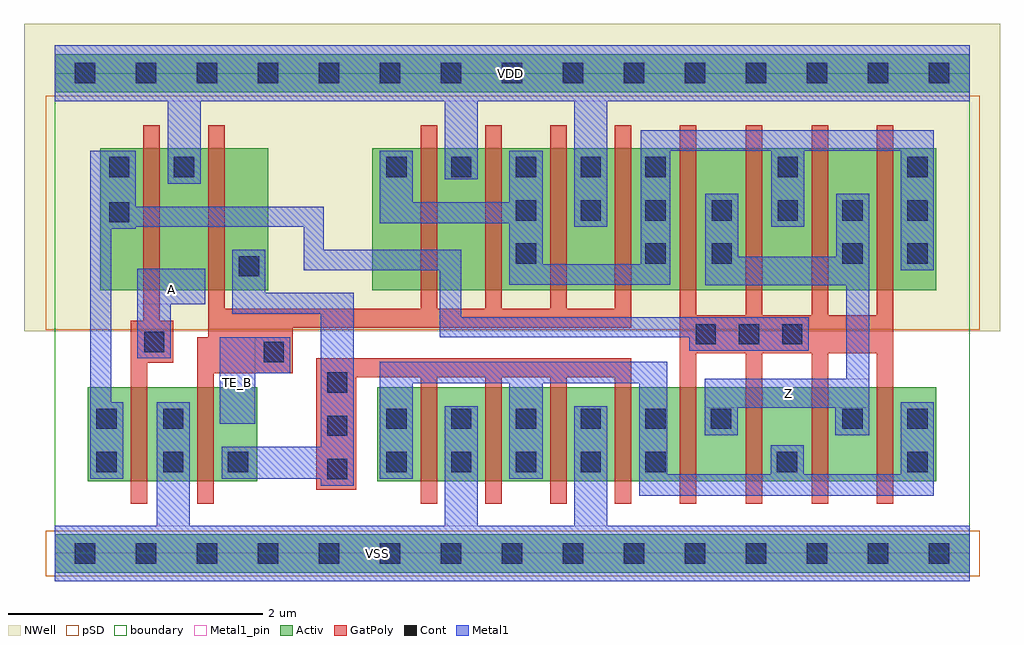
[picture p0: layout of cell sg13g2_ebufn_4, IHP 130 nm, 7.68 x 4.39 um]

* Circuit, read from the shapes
.subckt sg13g2_ebufn_4 A TE_B VDD VSS Z
XM1 VSS A n1 VSS sg13_lv_nmos w=0.74u l=0.13u
XM2 n2 TE_B VSS VSS sg13_lv_nmos w=0.74u l=0.13u
XM3 VSS n2 n3 VSS sg13_lv_nmos w=0.74u l=0.13u m=4
XM4 Z n1 n3 VSS sg13_lv_nmos w=0.74u l=0.13u m=4
XM5 VDD A n1 VDD sg13_lv_pmos w=1.12u l=0.13u
XM6 n2 TE_B VDD VDD sg13_lv_pmos w=1.12u l=0.13u
XM7 VDD TE_B n4 VDD sg13_lv_pmos w=1.12u l=0.13u m=4
XM8 Z n1 n4 VDD sg13_lv_pmos w=1.12u l=0.13u m=4
.ends

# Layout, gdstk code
import gdstk
lib = gdstk.Library(unit=1e-6, precision=1e-09)
def R(c, l, rs):  # rectangles x0, y0, x1, y1
    for r in rs: c.add(gdstk.rectangle(r[:2], r[2:], *l))
def A(c, l, x, y, w, h, nx, ny, dx, dy):  # array of equal rectangles
    R(c, l, [(x+i*dx, y+j*dy, x+i*dx+w, y+j*dy+h) for i in range(nx) for j in range(ny)])
def P(c, l, *ps):  # polygons
    for p in ps: c.add(gdstk.Polygon(p, *l))
Activ = (1, 0)
GatPoly = (5, 0)
Cont = (6, 0)
Metal1 = (8, 0)
Metal1_pin = (8, 2)
pSD = (14, 0)
NWell = (31, 0)
boundary = (189, 4)

sg13g2_ebufn_4 = lib.new_cell('sg13g2_ebufn_4')
R(sg13g2_ebufn_4, Activ, [(0,-0.15,7.2,0.15), (0.26,0.57,1.595,1.31), (2.54,0.57,6.94,1.31), (0.36,2.07,1.68,3.19), (2.5,2.07,6.94,3.19), (0,3.63,7.2,3.93)])
P(sg13g2_ebufn_4, GatPoly, [(2.88,0.39),(2.88,1.385),(2.375,1.385),(2.375,0.5),(2.06,0.5),(2.06,1.535),(4.54,1.535),(4.54,0.39),(4.41,0.39),(4.41,1.385),(4.03,1.385),(4.03,0.39),(3.9,0.39),(3.9,1.385),(3.52,1.385),(3.52,0.39),(3.39,0.39),(3.39,1.385),(3.01,1.385),(3.01,0.39)],
  [(1.125,0.39),(1.125,1.7),(1.21,1.7),(1.21,3.37),(1.34,3.37),(1.34,1.925),(2.88,1.925),(2.88,3.37),(3.01,3.37),(3.01,1.925),(3.39,1.925),(3.39,3.37),(3.52,3.37),(3.52,1.925),(3.9,1.925),(3.9,3.37),(4.03,3.37),(4.03,1.925),(4.41,1.925),(4.41,3.37),(4.54,3.37),(4.54,1.775),(1.875,1.775),(1.875,1.42),(1.255,1.42),(1.255,0.39)],
  [(4.92,0.39),(4.92,3.37),(5.05,3.37),(5.05,1.875),(5.44,1.875),(5.44,3.37),(5.57,3.37),(5.57,1.875),(5.96,1.875),(5.96,3.37),(6.09,3.37),(6.09,1.875),(6.47,1.875),(6.47,3.37),(6.6,3.37),(6.6,0.39),(6.47,0.39),(6.47,1.575),(6.09,1.575),(6.09,0.39),(5.96,0.39),(5.96,1.575),(5.57,1.575),(5.57,0.39),(5.44,0.39),(5.44,1.575),(5.05,1.575),(5.05,0.39)],
  [(0.6,0.39),(0.6,1.83),(0.7,1.83),(0.7,3.37),(0.83,3.37),(0.83,1.83),(0.935,1.83),(0.935,1.5),(0.73,1.5),(0.73,0.39)])
A(sg13g2_ebufn_4, Cont, 0.16, -0.08, 0.16, 0.16, 15, 2, 0.48, 3.78)
A(sg13g2_ebufn_4, Cont, 2.145, 0.585, 0.16, 0.16, 1, 3, 0, 0.34)
A(sg13g2_ebufn_4, Cont, 2.61, 0.64, 0.16, 0.16, 5, 2, 0.51, 0.34)
A(sg13g2_ebufn_4, Cont, 5.045, 1.645, 0.16, 0.16, 3, 1, 0.34, 0)
A(sg13g2_ebufn_4, Cont, 3.63, 2.62, 0.16, 0.16, 3, 1, 0.51, 0)
A(sg13g2_ebufn_4, Cont, 5.69, 2.62, 0.16, 0.16, 3, 1, 0.51, 0)
A(sg13g2_ebufn_4, Cont, 2.61, 2.96, 0.16, 0.16, 5, 1, 0.51, 0)
R(sg13g2_ebufn_4, Cont, [(0.33,0.64,0.49,0.8), (0.855,0.64,1.015,0.8), (1.365,0.64,1.525,0.8), (5.685,0.64,5.845,0.8), (6.71,0.64,6.87,0.8), (0.33,0.98,0.49,1.14), (0.855,0.98,1.015,1.14), (5.165,0.98,5.325,1.14), (6.2,0.98,6.36,1.14), (6.71,0.98,6.87,1.14), (1.645,1.505,1.805,1.665), (0.705,1.585,0.865,1.745), (1.45,2.18,1.61,2.34), (3.63,2.28,3.79,2.44), (4.65,2.28,4.81,2.44), (5.17,2.28,5.33,2.44), (6.2,2.28,6.36,2.44), (6.71,2.28,6.87,2.44), (0.43,2.605,0.59,2.765), (5.17,2.62,5.33,2.78), (0.43,2.96,0.59,3.12), (0.94,2.96,1.1,3.12), (5.69,2.96,5.85,3.12), (6.71,2.96,6.87,3.12)])
P(sg13g2_ebufn_4, Metal1, [(0,-0.22),(0,0.22),(0.805,0.22),(0.805,1.19),(1.065,1.19),(1.065,0.22),(3.07,0.22),(3.07,1.16),(3.33,1.16),(3.33,0.22),(4.09,0.22),(4.09,1.16),(4.35,1.16),(4.35,0.22),(7.2,0.22),(7.2,-0.22)],
  [(4.09,2.57),(4.09,3.56),(3.33,3.56),(3.33,2.945),(3.07,2.945),(3.07,3.56),(1.15,3.56),(1.15,2.91),(0.89,2.91),(0.89,3.56),(0,3.56),(0,4),(7.2,4),(7.2,3.56),(4.35,3.56),(4.35,2.57)],
  [(4.6,0.455),(4.6,1.34),(3.84,1.34),(3.84,0.59),(3.58,0.59),(3.58,1.34),(2.82,1.34),(2.82,0.59),(2.56,0.59),(2.56,1.51),(4.82,1.51),(4.82,0.625),(5.635,0.625),(5.635,0.85),(5.895,0.85),(5.895,0.625),(6.66,0.625),(6.66,1.19),(6.92,1.19),(6.92,0.455)],
  [(3.58,2.115),(3.58,2.6),(2.56,2.6),(2.56,3.17),(2.82,3.17),(2.82,2.765),(3.58,2.765),(3.58,3.17),(3.84,3.17),(3.84,2.275),(4.615,2.275),(4.615,3.33),(6.92,3.33),(6.92,2.23),(6.66,2.23),(6.66,3.17),(5.9,3.17),(5.9,2.57),(5.64,2.57),(5.64,3.17),(4.845,3.17),(4.845,2.115)],
  [(5.115,0.93),(5.115,1.375),(6.23,1.375),(6.23,2.11),(5.12,2.11),(5.12,2.83),(5.38,2.83),(5.38,2.335),(6.15,2.335),(6.15,2.83),(6.41,2.83),(6.41,0.93),(6.145,0.93),(6.145,1.145),(5.375,1.145),(5.375,0.93)],
  [(2.095,0.535),(2.095,0.59),(1.315,0.59),(1.315,0.84),(2.095,0.84),(2.095,1.885),(1.4,1.885),(1.4,2.39),(1.66,2.39),(1.66,2.05),(2.355,2.05),(2.355,0.535)],
  [(0.65,1.535),(0.65,2.24),(1.185,2.24),(1.185,1.96),(0.915,1.96),(0.915,1.535)],
  [(1.3,1.02),(1.3,1.7),(1.855,1.7),(1.855,1.42),(1.58,1.42),(1.58,1.02)],
  [(0.28,0.59),(0.28,3.17),(0.64,3.17),(0.64,2.73),(2.12,2.73),(2.12,2.39),(3.2,2.39),(3.2,1.86),(5.935,1.86),(5.935,1.595),(4.995,1.595),(4.995,1.7),(3.03,1.7),(3.03,2.23),(1.96,2.23),(1.96,2.57),(0.64,2.57),(0.64,2.555),(0.445,2.555),(0.445,1.19),(0.54,1.19),(0.54,0.59)])
R(sg13g2_ebufn_4, Metal1_pin, [(0,-0.22,7.2,0.22), (1.3,1.02,1.58,1.7), (5.115,1.145,6.41,1.375), (0.65,1.96,1.185,2.24), (0,3.56,7.2,4)])
R(sg13g2_ebufn_4, pSD, [(-0.07,-0.18,7.28,0.18), (-0.07,1.76,7.28,3.6)])
R(sg13g2_ebufn_4, NWell, [(-0.24,1.75,7.44,4.17)])
R(sg13g2_ebufn_4, boundary, [(0,0,7.2,3.78)])
sg13g2_ebufn_4.add(gdstk.Label('A', (0.92,2.08), layer=8, texttype=25))
sg13g2_ebufn_4.add(gdstk.Label('VDD', (3.59,3.78), layer=8, texttype=25))
sg13g2_ebufn_4.add(gdstk.Label('VSS', (2.54,0), layer=8, texttype=25))
sg13g2_ebufn_4.add(gdstk.Label('TE_B', (1.44,1.345), layer=8, texttype=25))
sg13g2_ebufn_4.add(gdstk.Label('Z', (5.775,1.26), layer=8, texttype=25))

lib.write_gds('sg13g2_ebufn_4.gds')
